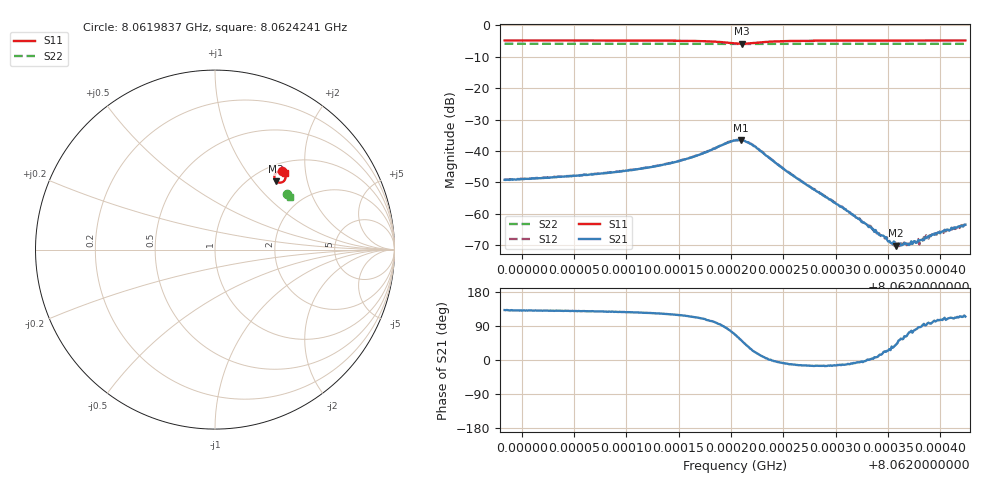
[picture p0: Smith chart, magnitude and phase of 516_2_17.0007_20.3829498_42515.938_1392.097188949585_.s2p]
#  HZ  S  RI  R  50.00
! Rohde & Schwarz Vector Network Analyzer
! Rohde-Schwarz,ZNB20-2Port,1311601062101988,3.16
! Created: UTC 3/20/2024, 11:15:12 PM
! freq[Hz]  re:S11  im:S11  re:S21  im:S21  re:S12  im:S12  re:S22  im:S22
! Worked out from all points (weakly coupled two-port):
!   401 points, 8.0619837 GHz to 8.0624241 GHz, reference 50 ohm
!   highest |S21| = -36.56 dB at 8.0622094 GHz (marker M1); lowest = -70.2 dB at 8.062358 GHz (marker M2)
!   lowest |S11| = -5.8 dB at 8.0622105 GHz (marker M3), VSWR 3.09, Z = 63.8 + j65.7 ohm
!   |S11| at or under -10 dB: nowhere
!   |S22| runs from -5.9 to -5.9 dB; largest |S21 - S12| = 0.0011
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8.06198371e9  0.3758 0.4366  -0.0023 0.00258  -0.00218 0.00277  0.4029 0.3125
8.06205747e9  0.3817 0.4306  -0.00257 0.00319  -0.00238 0.00336  0.4056 0.3086
8.06213123e9  0.3896 0.4198  -0.00314 0.00491  -0.00287 0.00514  0.4082 0.3043
8.06216426e9  0.3931 0.4073  -0.00323 0.00739  -0.00279 0.00767  0.4093 0.3023
8.0622039e9  0.3582 0.3731  0.00575 0.0135  0.00658 0.0132  0.4086 0.2994
8.0622094e9  0.3434 0.3787  0.00889 0.0119  0.00964 0.0115  0.4083 0.2997
8.0622105e9  0.3409 0.3806  0.0094 0.0113  0.0102 0.0107  0.4082 0.2995
8.06222151e9  0.3306 0.4081  0.0111 0.00484  0.0114 0.0043  0.4085 0.3005
8.06225344e9  0.3578 0.4355  0.00467 -0.000801  0.00466 -0.00108  0.4112 0.2999
8.06227766e9  0.3692 0.4351  0.00243 -0.000666  0.00241 -0.000821  0.4125 0.2986
8.06230959e9  0.3771 0.4324  0.00114 -0.000243  0.00114 -0.000312  0.4138 0.2968
8.06234151e9  0.3821 0.4298  0.000449 0.000101  0.000483 7.19e-05  0.4151 0.2949
8.06234592e9  0.3825 0.4294  0.000414 0.000161  0.000417 0.000116  0.4153 0.2948
8.06235142e9  0.3831 0.429  0.000321 0.000176  0.000341 0.000155  0.4155 0.2943
8.06235363e9  0.3835 0.4289  0.000276 0.000197  0.000319 0.000186  0.4157 0.2945
8.06235803e9  0.384 0.4285  0.000232 0.000203  0.00024 0.000218  0.4156 0.2941
8.06237124e9  0.3855 0.4276  9.17e-05 0.000315  0.000124 0.000277  0.4163 0.2934
8.06237675e9  0.3859 0.4272  5.37e-05 0.000339  0.000103 0.00034  0.4163 0.293
8.06238225e9  0.3864 0.4268  7.94e-06 0.000385  1.6e-05 0.000363  0.4166 0.2929
8.06238555e9  0.3867 0.4266  -1.03e-05 0.000417  -1.49e-05 0.000416  0.4166 0.2927
8.06239987e9  0.3881 0.4256  -0.000134 0.000468  -0.000114 0.000511  0.4172 0.292
8.06242409e9  0.39 0.424  -0.000279 0.000608  -0.000219 0.00064  0.418 0.2907
